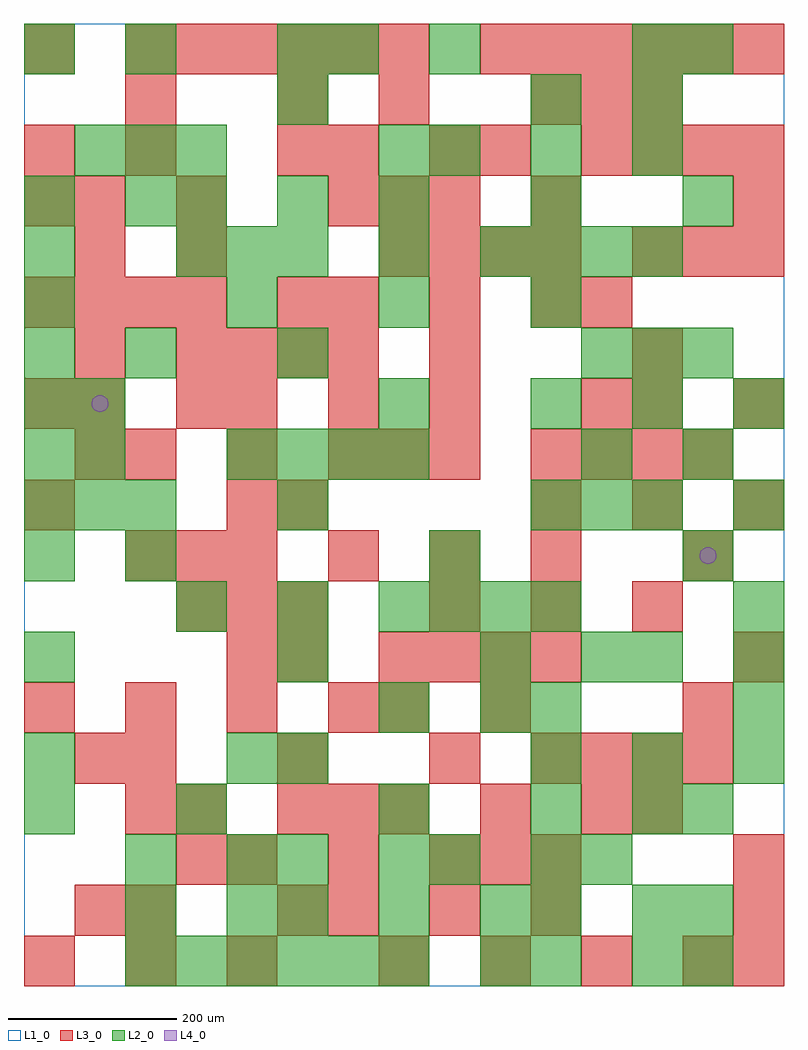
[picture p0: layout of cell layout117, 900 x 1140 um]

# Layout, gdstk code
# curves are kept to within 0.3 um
import gdstk
lib = gdstk.Library(unit=1e-6, precision=1e-09)
def R(c, l, rs):  # rectangles x0, y0, x1, y1
    for r in rs: c.add(gdstk.rectangle(r[:2], r[2:], *l))
def A(c, l, x, y, w, h, nx, ny, dx, dy):  # array of equal rectangles
    R(c, l, [(x+i*dx, y+j*dy, x+i*dx+w, y+j*dy+h) for i in range(nx) for j in range(ny)])
def P(c, l, *ps):  # polygons
    for p in ps: c.add(gdstk.Polygon(p, *l))
L1_0 = (1, 0)
L2_0 = (2, 0)
L3_0 = (3, 0)
L4_0 = (4, 0)

layout117 = lib.new_cell('layout117')
R(layout117, L1_0, [(0,0,900,1140)])
A(layout117, L2_0, 120, 0, 60, 60, 6, 1, 60, 0)
A(layout117, L2_0, 600, 0, 60, 60, 1, 4, 0, 60)
A(layout117, L2_0, 300, 60, 60, 60, 3, 1, 120, 0)
A(layout117, L2_0, 300, 120, 60, 60, 1, 3, 0, 120)
A(layout117, L2_0, 660, 120, 60, 60, 1, 3, 0, 240)
A(layout117, L2_0, 0, 240, 60, 60, 1, 4, 0, 120)
A(layout117, L2_0, 600, 240, 60, 60, 3, 2, 120, 420)
A(layout117, L2_0, 840, 300, 60, 60, 1, 3, 0, 60)
A(layout117, L2_0, 180, 420, 60, 60, 3, 2, 120, 480)
A(layout117, L2_0, 480, 420, 60, 60, 3, 1, 60, 0)
A(layout117, L2_0, 0, 540, 60, 60, 3, 1, 60, 0)
A(layout117, L2_0, 600, 540, 60, 60, 3, 1, 60, 0)
A(layout117, L2_0, 240, 600, 60, 60, 4, 1, 60, 0)
A(layout117, L2_0, 0, 660, 60, 60, 1, 5, 0, 60)
A(layout117, L2_0, 120, 720, 60, 60, 1, 3, 0, 180)
A(layout117, L2_0, 660, 720, 60, 60, 3, 1, 60, 0)
A(layout117, L2_0, 240, 780, 60, 60, 3, 1, 180, 0)
A(layout117, L2_0, 180, 840, 60, 60, 3, 1, 60, 0)
A(layout117, L2_0, 540, 840, 60, 60, 4, 1, 60, 0)
A(layout117, L2_0, 60, 960, 60, 60, 3, 1, 60, 0)
A(layout117, L2_0, 480, 960, 60, 60, 3, 1, 120, 0)
R(layout117, L2_0, [(540,0,600,60), (720,0,780,60), (780,0,840,60), (120,60,180,120), (240,60,300,120), (720,60,780,120), (780,60,840,120), (120,120,180,180), (240,120,300,180), (420,120,480,180), (480,120,540,180), (0,180,60,240), (180,180,240,240), (420,180,480,240), (720,180,780,240), (780,180,840,240), (240,240,300,300), (420,300,480,360), (540,300,600,360), (600,300,660,360), (540,360,600,420), (720,360,780,420), (120,480,180,540), (480,480,540,540), (780,480,840,540), (300,540,360,600), (840,540,900,600), (60,600,120,660), (780,600,840,660), (60,660,120,720), (420,660,480,720), (300,720,360,780), (420,840,480,900), (600,900,660,960), (780,900,840,960), (420,960,480,1020), (300,1020,360,1080), (600,1020,660,1080), (720,1020,780,1080), (0,1080,60,1140), (300,1080,360,1140), (360,1080,420,1140), (480,1080,540,1140), (720,1080,780,1140), (780,1080,840,1140)])
A(layout117, L3_0, 0, 0, 60, 60, 3, 1, 120, 0)
A(layout117, L3_0, 420, 0, 60, 60, 4, 1, 120, 0)
A(layout117, L3_0, 840, 0, 60, 60, 1, 3, 0, 60)
A(layout117, L3_0, 360, 60, 60, 60, 3, 2, 120, 420)
A(layout117, L3_0, 240, 120, 60, 60, 3, 2, 120, 540)
A(layout117, L3_0, 300, 180, 60, 60, 3, 1, 60, 0)
A(layout117, L3_0, 120, 240, 60, 60, 3, 1, 180, 0)
A(layout117, L3_0, 600, 240, 60, 60, 4, 2, 60, 360)
A(layout117, L3_0, 0, 300, 60, 60, 4, 1, 120, 0)
A(layout117, L3_0, 420, 360, 60, 60, 4, 2, 60, 480)
A(layout117, L3_0, 180, 420, 60, 60, 3, 1, 60, 0)
A(layout117, L3_0, 480, 420, 60, 60, 3, 1, 120, 0)
A(layout117, L3_0, 120, 480, 60, 60, 3, 1, 60, 0)
A(layout117, L3_0, 600, 540, 60, 60, 3, 1, 120, 0)
A(layout117, L3_0, 60, 600, 60, 60, 1, 3, 0, 60)
A(layout117, L3_0, 120, 600, 60, 60, 3, 1, 120, 0)
A(layout117, L3_0, 180, 720, 60, 60, 4, 1, 60, 0)
A(layout117, L3_0, 0, 780, 60, 60, 4, 1, 60, 0)
A(layout117, L3_0, 360, 780, 60, 60, 3, 1, 120, 0)
A(layout117, L3_0, 720, 840, 60, 60, 3, 1, 60, 0)
A(layout117, L3_0, 360, 900, 60, 60, 3, 1, 60, 0)
A(layout117, L3_0, 660, 960, 60, 60, 4, 1, 60, 0)
A(layout117, L3_0, 600, 1020, 60, 60, 3, 1, 60, 0)
A(layout117, L3_0, 120, 1080, 60, 60, 6, 1, 60, 0)
A(layout117, L3_0, 540, 1080, 60, 60, 6, 1, 60, 0)
R(layout117, L3_0, [(60,60,120,120), (120,60,180,120), (300,60,360,120), (180,120,240,180), (540,120,600,180), (600,120,660,180), (120,180,180,240), (180,180,240,240), (540,180,600,240), (660,180,720,240), (720,180,780,240), (60,240,120,300), (420,300,480,360), (540,300,600,360), (780,300,840,360), (240,360,300,420), (300,360,360,420), (840,360,900,420), (780,480,840,540), (0,540,60,600), (240,540,300,600), (300,540,360,600), (420,600,480,660), (480,600,540,660), (0,660,60,720), (180,660,240,720), (660,660,720,720), (720,660,780,720), (840,660,900,720), (480,720,540,780), (720,720,780,780), (300,780,360,840), (660,780,720,840), (60,840,120,900), (180,840,240,900), (0,900,60,960), (60,900,120,960), (180,900,240,960), (600,900,660,960), (840,900,900,960), (0,960,60,1020), (120,960,180,1020), (300,960,360,1020), (360,960,420,1020), (480,960,540,1020), (540,960,600,1020), (120,1020,180,1080), (300,1020,360,1080), (420,1020,480,1080), (0,1080,60,1140)])
P(layout117, L4_0, [(100,690),(99.239,693.827),(97.071,697.071),(93.827,699.239),(90,700),(86.173,699.239),(82.929,697.071),(80.761,693.827),(80,690),(80.761,686.173),(82.929,682.929),(86.173,680.761),(90,680),(93.827,680.761),(97.071,682.929),(99.239,686.173)],
  [(820,510),(819.239,513.827),(817.071,517.071),(813.827,519.239),(810,520),(806.173,519.239),(802.929,517.071),(800.761,513.827),(800,510),(800.761,506.173),(802.929,502.929),(806.173,500.761),(810,500),(813.827,500.761),(817.071,502.929),(819.239,506.173)])

lib.write_gds('layout117.gds')
